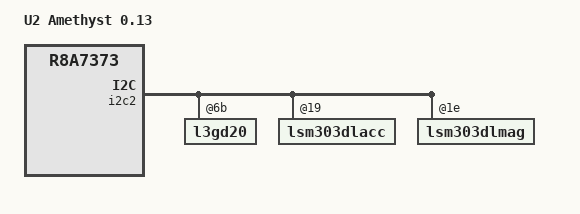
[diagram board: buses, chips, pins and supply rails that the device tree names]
/******************************************************************************/
/*                                                                            */
/* Copyright 2014 Broadcom Corporation                                        */
/*                                                                            */
/* Unless you and Broadcom execute a separate written software license        */
/* agreement governing use of this software, this software is licensed        */
/* to you under the terms of the GNU General Public License version 2         */
/* (the GPL), available at                                                    */
/*                                                                            */
/* http://www.broadcom.com/licenses/GPLv2.php                                 */
/*                                                                            */
/* with the following added to such license:                                  */
/*                                                                            */
/* As a special exception, the copyright holders of this software give        */
/* you permission to link this software with independent modules, and         */
/* to copy and distribute the resulting executable under terms of your        */
/* choice, provided that you also meet, for each linked independent           */
/* module, the terms and conditions of the license of that module.            */
/* An independent module is a module which is not derived from this           */
/* software. The special exception does not apply to any modifications        */
/* of the software.                                                           */
/*                                                                            */
/* Notwithstanding the above, under no circumstances may you combine          */
/* this software in any way with any other Broadcom software provided         */
/* under a license other than the GPL, without Broadcom's express             */
/* prior written consent.                                                     */
/*                                                                            */
/******************************************************************************/

/dts-v1/;
#include "r8a7373.dtsi"
#include "amethyst-common.dtsi"

/{
	model = "U2 Amethyst 0.13";
	compatible = "renesas,amethyst", "renesas,r8a7373";
};

&lcdc {
	pname = "NT35590";
};

&rt {
	screen0 {
		renesas,height = <1280>;
		renesas,width = <720>;
		renesas,stride = <736>;
	};
};

&i2c2 {
	/* Gyroscope Sensor */
	l3gd20: l3gd20@6b {
		orientation = /bits/ 8 <0x00 0xFF 0x00
					0x01 0x00 0x00
					0x00 0x00 0x01>;
	};

	/* Accelerometer sensor */
	lsm303dlacc: lsm303dlacc@19 {
		orientation = /bits/ 8 <0xFF 0x00 0x00
					0x00 0xFF 0x00
					0x00 0x00 0xFF>;
        };

	/* Magnetometer Sensor */
	lsm303dlmag: lsm303dlmag@1e {
		orientation = /bits/ 8 <0xFF 0x00 0x00
					0x00 0xFF 0x00
					0x00 0x00 0xFF>;
        };
};
